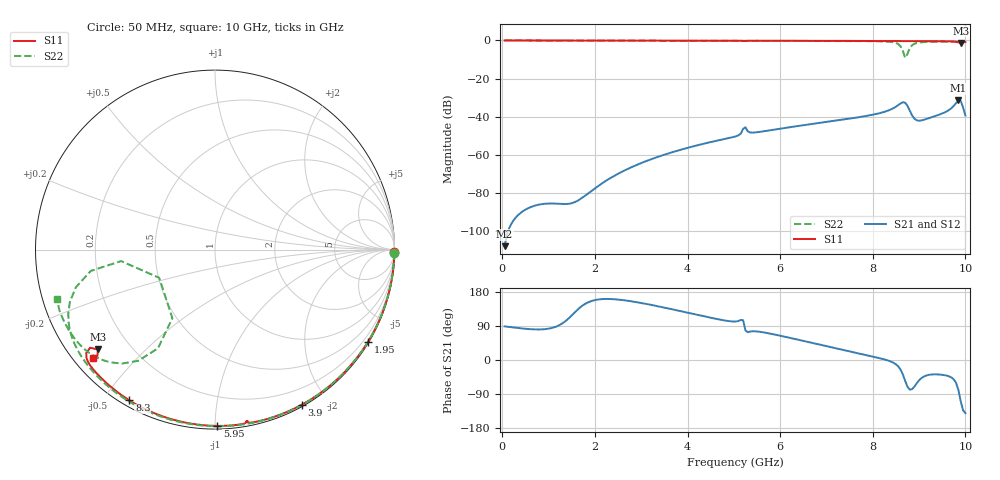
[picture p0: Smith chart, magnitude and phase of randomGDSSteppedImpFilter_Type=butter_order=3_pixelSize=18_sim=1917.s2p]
! freq	dB(S11)	phase(S11)	dB(S12)	phase(S12)
!  dB(S21)	phase(S21)	dB(S22)	phase(S22)
!S-par simulation data
#  GHz  S  DB  R 50
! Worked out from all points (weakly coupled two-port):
!   200 points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, 50 MHz to 10 GHz, reference 50 ohm
!   highest |S21| = -31.37 dB at 9.85 GHz (marker M1); lowest = -108.1 dB at 50 MHz (marker M2)
!   lowest |S11| = -1.3 dB at 9.9 GHz (marker M3), VSWR 13.05, Z = 4.35 - j18.3 ohm
!   |S11| at or under -10 dB: nowhere
!   |S22| runs from -9.2 to 0.0 dB; largest |S21 - S12| = 0
!   S11 on the Smith chart (normalised r, x): 50 MHz: open; 1.95 GHz: 0.03, -3.58; 3.9 GHz: 0.02, -1.71; 5.95 GHz: 0.02, -1.01; 8.3 GHz: 0.02, -0.58; 10 GHz: 0.05, -0.38
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0.05  -0.00 -0.8  -108.07 88.7  -108.07 88.7  -0.00 -1.0
1.75  -0.04 -28.1  -82.22 145.1  -82.22 145.1  -0.04 -32.8
1.95  -0.04 -31.2  -78.57 156.5  -78.57 156.5  -0.05 -36.5
3.4  -0.07 -53.3  -60.81 140.8  -60.81 140.8  -0.08 -62.3
3.9  -0.08 -60.7  -57.08 127.6  -57.08 127.6  -0.10 -70.8
5.05  -0.13 -77.3  -50.32 101.7  -50.32 101.7  -0.14 -90.0
5.25  -0.26 -79.3  -45.61 78.2  -45.61 78.2  -0.15 -93.2
5.4  -0.14 -81.6  -48.41 75.7  -48.41 75.7  -0.15 -95.6
5.95  -0.15 -89.2  -46.55 65.4  -46.55 65.4  -0.18 -104.5
6.7  -0.19 -99.2  -43.82 44.9  -43.82 44.9  -0.23 -116.6
8.3  -0.30 -119.6  -37.11 -0.2  -37.11 -0.2  -0.60 -149.0
8.35  -0.30 -120.2  -36.65 -2.2  -36.65 -2.2  -0.69 -151.1
8.55  -0.32 -122.8  -33.97 -16.9  -33.97 -16.9  -1.90 -164.8
8.65  -0.33 -124.0  -32.45 -38.2  -32.45 -38.2  -5.57 -173.0
8.7  -0.34 -124.7  -32.71 -55.3  -32.71 -55.3  -9.16 -153.2
8.75  -0.34 -125.3  -34.40 -70.8  -34.40 -70.8  -6.94 -121.9
8.85  -0.35 -126.6  -39.38 -76.9  -39.38 -76.9  -2.46 -124.7
9  -0.37 -128.5  -42.16 -53.6  -42.16 -53.6  -1.10 -135.9
9.6  -0.45 -136.9  -37.21 -41.4  -37.21 -41.4  -0.62 -154.4
9.85  -1.06 -141.8  -31.37 -79.4  -31.37 -79.4  -0.65 -159.9
9.9  -1.33 -139.6  -31.81 -109.2  -31.81 -109.2  -0.68 -160.8
10  -0.83 -138.3  -39.41 -140.2  -39.41 -140.2  -0.69 -162.6
